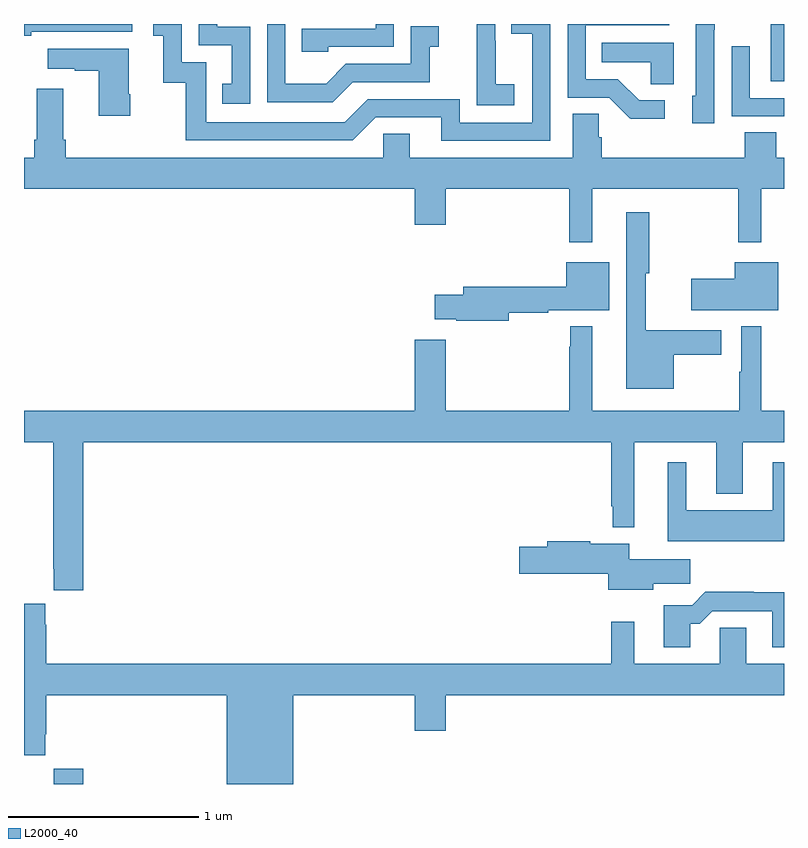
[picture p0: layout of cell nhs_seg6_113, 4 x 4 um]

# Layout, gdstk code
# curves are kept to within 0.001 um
import gdstk
lib = gdstk.Library(unit=1e-6, precision=1e-09)
def R(c, l, rs):  # rectangles x0, y0, x1, y1
    for r in rs: c.add(gdstk.rectangle(r[:2], r[2:], *l))
def P(c, l, *ps):  # polygons
    for p in ps: c.add(gdstk.Polygon(p, *l))
L2000_40 = (2000, 40)

nhs_seg6_113 = lib.new_cell('nhs_seg6_113')
R(nhs_seg6_113, L2000_40, [(115.157,981.5,115.313,981.58), (118.931,985.199,119,985.5)])
P(nhs_seg6_113, L2000_40, [(116.731,985.194),(117.135,985.194),(117.135,985.379),(117.184,985.379),(117.184,985.489),(117.036,985.489),(117.036,985.29),(116.694,985.29),(116.59,985.186),(116.376,985.186),(116.376,985.5),(116.28,985.5),(116.28,985.089),(116.626,985.089)],
  [(118.372,985.098),(118.237,985.098),(118.126,985.209),(117.957,985.209),(117.957,985.494),(118.396,985.494),(118.396,985.5),(117.861,985.5),(117.861,985.113),(118.08,985.113),(118.193,985.001),(118.372,985.001)],
  [(117.771,985.5),(117.565,985.5),(117.565,985.45),(117.675,985.45),(117.675,984.981),(117.294,984.981),(117.294,985.104),(116.808,985.104),(116.688,984.984),(115.959,984.984),(115.959,985.299),(115.83,985.299),(115.83,985.5),(115.68,985.5),(115.68,985.437),(115.733,985.437),(115.733,985.191),(115.851,985.191),(115.851,984.888),(116.73,984.888),(116.85,985.008),(117.197,985.008),(117.197,984.885),(117.771,984.885)],
  [(118.632,985.471),(118.635,985.471),(118.635,985.5),(118.536,985.5),(118.536,985.122),(118.517,985.122),(118.517,984.978),(118.632,984.978)],
  [(116.601,985.38),(116.946,985.38),(116.946,985.5),(116.85,985.5),(116.85,985.476),(116.461,985.476),(116.461,985.353),(116.601,985.353)],
  [(117.58,985.183),(117.482,985.183),(117.482,985.412),(117.48,985.412),(117.48,985.5),(117.383,985.5),(117.383,985.279),(117.382,985.279),(117.382,985.073),(117.58,985.073)],
  [(115.037,985.458),(115.57,985.458),(115.57,985.5),(115,985.5),(115,985.438),(115.037,985.438)],
  [(116.19,985.485),(116.016,985.485),(116.016,985.5),(115.92,985.5),(115.92,985.389),(116.093,985.389),(116.093,985.185),(116.044,985.185),(116.044,985.08),(116.19,985.08)],
  [(118.42,985.402),(118.042,985.402),(118.042,985.298),(118.299,985.298),(118.299,985.183),(118.42,985.183)],
  [(119,985.11),(118.821,985.11),(118.821,985.384),(118.725,985.384),(118.725,985.014),(119,985.014)],
  [(115.56,985.129),(115.552,985.129),(115.552,985.369),(115.125,985.369),(115.125,985.265),(115.268,985.265),(115.268,985.255),(115.394,985.255),(115.394,985.017),(115.56,985.017)],
  [(117.991,984.632),(118.758,984.632),(118.758,984.351),(118.879,984.351),(118.879,984.632),(119,984.632),(119,984.796),(118.958,984.796),(118.958,984.929),(118.793,984.929),(118.793,984.796),(118.04,984.796),(118.04,984.905),(118.026,984.905),(118.026,985.028),(117.887,985.028),(117.887,984.796),(117.031,984.796),(117.031,984.923),(116.892,984.923),(116.892,984.796),(115.22,984.796),(115.22,984.892),(115.207,984.892),(115.207,985.159),(115.067,985.159),(115.067,984.892),(115.055,984.892),(115.055,984.796),(115,984.796),(115,984.632),(117.056,984.632),(117.056,984.444),(117.22,984.444),(117.22,984.632),(117.87,984.632),(117.87,984.351),(117.991,984.351)],
  [(118.42,983.758),(118.669,983.758),(118.669,983.887),(118.273,983.887),(118.273,984.189),(118.291,984.189),(118.291,984.508),(118.169,984.508),(118.169,983.579),(118.42,983.579)],
  [(117.55,983.98),(117.758,983.98),(117.758,983.993),(118.081,983.993),(118.081,984.247),(117.854,984.247),(117.854,984.116),(117.311,984.116),(117.311,984.075),(117.162,984.075),(117.162,983.945),(117.274,983.945),(117.274,983.938),(117.55,983.938)],
  [(118.969,984.247),(118.742,984.247),(118.742,984.159),(118.512,984.159),(118.512,983.993),(118.969,983.993)],
  [(115.313,983.3),(118.092,983.3),(118.092,982.963),(118.099,982.963),(118.099,982.851),(118.213,982.851),(118.213,983.3),(118.643,983.3),(118.643,983.027),(118.783,983.027),(118.783,983.3),(119,983.3),(119,983.464),(118.879,983.464),(118.879,983.908),(118.775,983.908),(118.775,983.669),(118.765,983.669),(118.765,983.464),(117.991,983.464),(117.991,983.908),(117.876,983.908),(117.876,983.801),(117.87,983.801),(117.87,983.464),(117.22,983.464),(117.22,983.839),(117.056,983.839),(117.056,983.464),(115,983.464),(115,983.3),(115.153,983.3),(115.153,982.633),(115.157,982.633),(115.157,982.521),(115.313,982.521)],
  [(119,983.194),(118.94,983.194),(118.94,982.942),(118.486,982.942),(118.486,983.194),(118.388,983.194),(118.388,982.778),(119,982.778)],
  [(118.312,982.555),(118.507,982.555),(118.507,982.684),(118.186,982.684),(118.186,982.765),(117.98,982.765),(117.98,982.778),(117.755,982.778),(117.755,982.748),(117.606,982.748),(117.606,982.606),(118.076,982.606),(118.076,982.523),(118.312,982.523)],
  [(118.507,982.343),(118.556,982.343),(118.623,982.41),(118.937,982.41),(118.937,982.221),(119,982.221),(119,982.508),(118.841,982.508),(118.841,982.511),(118.586,982.511),(118.516,982.441),(118.367,982.441),(118.367,982.221),(118.507,982.221)],
  [(116.416,981.968),(117.056,981.968),(117.056,981.78),(117.22,981.78),(117.22,981.968),(119,981.968),(119,982.132),(118.801,982.132),(118.801,982.322),(118.662,982.322),(118.662,982.132),(118.213,982.132),(118.213,982.354),(118.092,982.354),(118.092,982.132),(115.118,982.132),(115.118,982.337),(115.111,982.337),(115.111,982.45),(115,982.45),(115,981.651),(115.111,981.651),(115.111,981.763),(115.118,981.763),(115.118,981.968),(116.066,981.968),(116.066,981.5),(116.416,981.5)])

lib.write_gds('nhs_seg6_113.gds')
